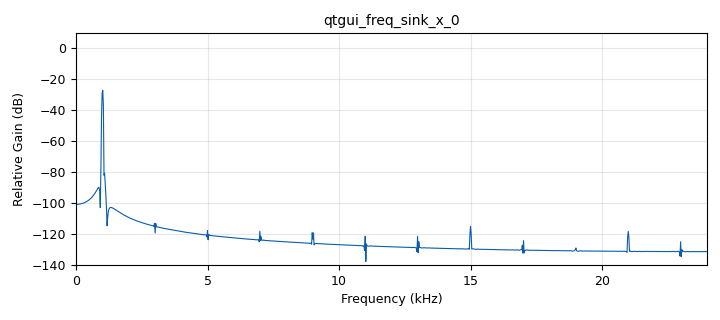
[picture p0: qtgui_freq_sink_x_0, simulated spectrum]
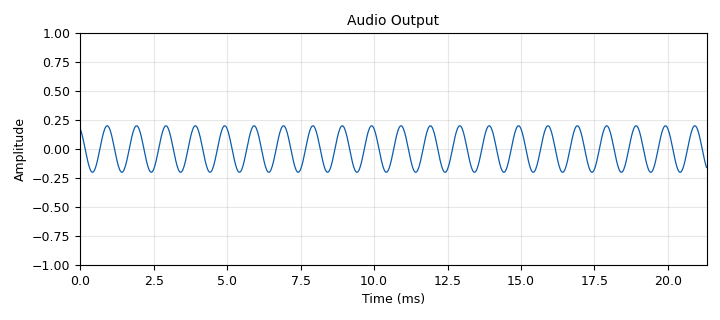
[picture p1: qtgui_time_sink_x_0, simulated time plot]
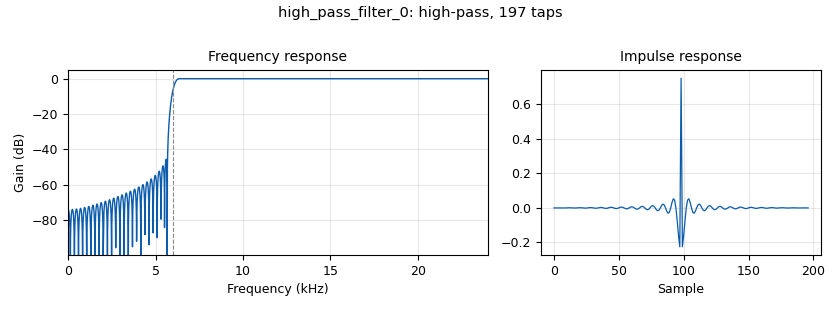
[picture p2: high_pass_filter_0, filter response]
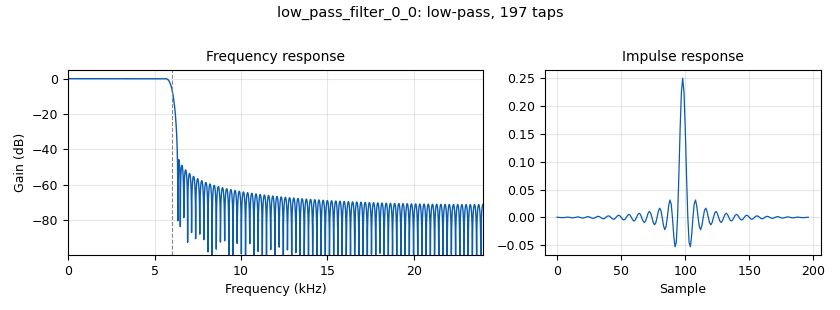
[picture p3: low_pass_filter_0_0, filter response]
options:
  parameters:
    author: Bennet L. Ladage
    generate_options: qt_gui
    id: Sdat
    output_language: python
    title: Sdat - Software Defined Audio Testing, South Westphalia University of Applied Sciences, Dept. Meschede
  states: {}

blocks:
- name: A_bandwith_classic_sweep
  id: variable_qtgui_range
  parameters:
    comment: normalized bandwith classical sweep
    gui_hint: 'sweepsTab@0: 0,0,1,1'
    label: Normalized Bandwidth, CL
    orient: Qt.Horizontal
    start: '0.01'
    step: '0.01'
    stop: '1'
    value: '0.5'
  states: {}
- name: A_noise_out
  id: variable_qtgui_range
  parameters:
    comment: slider amplitude additive noise
    gui_hint: 'commonWaveformTab@0: 2,0,1,1'
    label: Noise Amplitude
    orient: Qt.Horizontal
    start: '0'
    step: '0.01'
    stop: '1'
    value: '0'
  states: {}
- name: A_out
  id: variable_qtgui_range
  parameters:
    comment: slider amplitude audio out
    gui_hint: 'generalSettingsTab@0: 2,0,1,1'
    label: Amplitude
    orient: Qt.Horizontal
    start: '0'
    step: '0.0001'
    stop: '1'
    value: '0.2'
  states: {}
- name: BW_sweep_max
  id: variable
  parameters:
    value: 3e3
  states: {}
- name: B_sweep
  id: variable_qtgui_range
  parameters:
    comment: bandwith sweep
    gui_hint: 'sweepsTab@0: 2,0,1,1'
    label: Bandwidth, BP (Hz)
    orient: Qt.Horizontal
    start: '100'
    step: '1'
    stop: BW_sweep_max
    value: BW_sweep_max / 2.0
  states: {}
- name: N_fft
  id: variable
  parameters:
    comment: |-
      FFT length for SNR/THD calc
      2**14 optimum
    value: 2**14
  states: {}
- name: R_update_GUI_numbers
  id: variable
  parameters:
    value: '0.1'
  states: {}
- name: b_qu
  id: variable_qtgui_chooser
  parameters:
    gui_hint: 'generalSettingsTab@0: 1,0,1,1'
    label: Quantization
    label0: 1 Bit
    label1: 2 Bit
    label2: 4 Bit
    label3: 8 Bit
    label4: 16 Bit
    num_opts: '5'
    option0: '1'
    option1: '2'
    option2: '4'
    option3: '8'
    option4: '16'
    orient: Qt.QHBoxLayout
    type: int
    value: '16'
    widget: radio_buttons
  states: {}
- name: b_qu_in
  id: variable_qtgui_chooser
  parameters:
    comment: quantization input
    gui_hint: 'inputFilterTab@0: 1,0,1,1'
    label: Quantization
    label0: 1 Bit
    label1: 2 Bit
    label2: 4 Bit
    label3: 8 Bit
    label4: 16 Bit
    num_opts: '5'
    option0: '1'
    option1: '2'
    option2: '4'
    option3: '8'
    option4: '16'
    type: int
    value: '16'
    widget: radio_buttons
  states: {}
- name: bpRipple
  id: variable_qtgui_chooser
  parameters:
    comment: passband ripple FIR filter, win method
    gui_hint: 'inputFilterTab2@0: 3,0,1,1'
    label: Max. Stopband Ripple
    labels: '["29 dB", "37 dB", "45 dB", "54 dB", "63 dB", "72 dB", "81 dB", "90 dB"]'
    num_opts: '0'
    options: '[2, 3, 4, 5, 6, 7, 8, 9]'
    type: int
    value: '4'
    widget: radio_buttons
  states: {}
- name: delayMeasurement
  id: variable_qtgui_range
  parameters:
    comment: time between a measured value is stored
    gui_hint: 'tabLogger@0: 1,0,1,1'
    label: '"Measure Interval (Seconds):"'
    orient: Qt.Vertical
    start: '0.1'
    step: '0.1'
    stop: '30'
    value: '2'
    widget: counter
  states: {}
- name: f_0
  id: variable_qtgui_range
  parameters:
    comment: slider frequency audio out
    gui_hint: 'commonWaveformTab@0: 1,0,1,1'
    label: Frequency (Hz)
    orient: Qt.Horizontal
    start: '20'
    step: '1'
    stop: '20000'
    value: '1000'
  states: {}
- name: f_center_sweep
  id: variable_qtgui_range
  parameters:
    comment: center frequency sweep
    gui_hint: 'sweepsTab@0: 1,0,1,1'
    label: Center Frequency, BP (Hz)
    orient: Qt.Horizontal
    start: 500.0 + 0.5 * BW_sweep_max
    step: '1'
    stop: 20e3 - 0.5 * BW_sweep_max
    value: 10e3
  states: {}
- name: fcutoff_in
  id: variable_qtgui_range
  parameters:
    comment: cutoff freq filter input
    gui_hint: 'inputFilterTab2@0: 2,0,1,1'
    label: Cutoff Frequency (Hz)
    orient: Qt.Horizontal
    start: trans_width_in
    step: '1'
    stop: '20000'
    value: '6000'
  states: {}
- name: filenameLog
  id: variable_qtgui_entry
  parameters:
    comment: |-
      set filename data logger;
      requires from datetime import datetime
      because default name is current date
    gui_hint: 'tabLogger@0: 2,0,1,1'
    label: '"Logfile Name [Confirm New via Enter]"'
    type: string
    value: datetime.now().strftime("%Y-%m-%d")
  states: {}
- name: fsample_in
  id: variable
  parameters:
    comment: sample frequency for audio input
    value: '48000'
  states: {}
- name: fsample_internal
  id: variable
  parameters:
    comment: internal sample frequency (fixed)
    value: '48000'
  states: {}
- name: fsample_out
  id: variable
  parameters:
    comment: sample frequency for audio output
    value: '48000'
  states: {}
- name: gain_in
  id: variable_qtgui_range
  parameters:
    comment: gain input
    gui_hint: 'inputFilterTab2@0: 1,0,1,1'
    label: Gain (dB)
    orient: Qt.Horizontal
    start: '-60'
    step: '0.01'
    stop: '60'
    value: '0'
  states: {}
- name: logfileChooser
  id: variable_qtgui_chooser
  parameters:
    comment: choose if logfile is created
    gui_hint: 'tabLogger@0: 0,0,1,1'
    label: Logfile Generation
    label0: No Logfile / Stop
    label1: Continuous Writing
    num_opts: '2'
    option0: '0'
    option1: '1'
    orient: Qt.QHBoxLayout
    type: int
    value: '0'
    widget: radio_buttons
  states: {}
- name: trans_width_in
  id: variable
  parameters:
    comment: transision width input filter
    value: 0.5e3
  states: {}
- name: uiWaveOrSweep
  id: variable_qtgui_chooser
  parameters:
    comment: choose waveform or sweep
    gui_hint: 'generalSettingsTab@0: 0,0,1,1'
    label: Test Signal
    label0: Common Waveform
    label1: Classical Sweep (CL)
    label2: Bandpass Sweep (BP)
    num_opts: '3'
    option0: '1'
    option1: '2'
    option2: '3'
    type: int
    value: '1'
    widget: radio_buttons
  states: {}
- name: uiwavef
  id: variable_qtgui_chooser
  parameters:
    comment: choose common waveforms
    gui_hint: 'commonWaveformTab@0: 0,0,1,1'
    label: Waveform
    label0: Sine
    label1: Square
    label2: Triangle
    label3: Sawtooth
    num_opts: '4'
    option0: '101'
    option1: '103'
    option2: '104'
    option3: '105'
    type: int
    value: '101'
  states: {}
- name: whichFilterIn
  id: variable_qtgui_chooser
  parameters:
    comment: choose which input filter
    gui_hint: 'inputFilterTab@0: 0,0,1,1'
    label: Input Filter
    label0: Gain Only
    label1: Lowpass
    label2: Highpass
    num_opts: '3'
    option0: '1'
    option1: '2'
    option2: '3'
    type: int
    value: '1'
    widget: radio_buttons
  states: {}
- name: analog_noise_source_x_0
  id: analog_noise_source_x
  parameters:
    amp: A_noise_out/(2.0 ** 0.5)
    noise_type: analog.GR_GAUSSIAN
    seed: '0'
    type: float
  states: {}
- name: analog_sig_source_x_0
  id: analog_sig_source_x
  parameters:
    amp: A_out
    freq: f_0
    offset: '0'
    phase: '0'
    samp_rate: fsample_internal
    type: float
    waveform: uiwavef
  states: {}
- name: audio_sink_0
  id: audio_sink
  parameters:
    comment: D/A audio output
    samp_rate: fsample_out
  states: {}
- name: audio_source_0
  id: audio_source
  parameters:
    comment: A/D audio input
    samp_rate: fsample_in
  states: {}
- name: blk_oscillate_around_0
  id: epy_block
  parameters:
    _source_code: |
      import numpy as np
      from gnuradio import gr


      class blk(gr.sync_block):

          def __init__(self):

              gr.sync_block.__init__(
                  self,
                  name='Oscillate Around 0', 
                  in_sig=[np.float32],
                  out_sig=[np.float32]
              )

          def work(self, input_items, output_items):
              #Check if s(n)>0 for all n
              #if all(n >= 0 for n in input_items[0]):
              if min(input_items[0]) >= 0:       
                  output_items[0][:] = 2 * (input_items[0] - (0.5*max(input_items[0])) )
              else:
                  output_items[0][:] = input_items[0]
              return len(output_items[0])
    comment: and correct amplitude
  states: {}
- name: blk_oscillate_around_0_0
  id: epy_block
  parameters:
    _source_code: |
      import numpy as np
      from gnuradio import gr


      class blk(gr.sync_block):

          def __init__(self, digits=1):

              gr.sync_block.__init__(
                  self,
                  name="round x digits", 
                  in_sig=[np.float32],
                  out_sig=[np.float32]
              )
              self.digits = digits

          def work(self, input_items, output_items):
              
              output_items[0][:] = np.round(input_items[0], self.digits)
              return len(output_items[0])
    comment: round(s(n), x)
    digits: '2'
  states: {}
- name: blocks_add_xx_0
  id: blocks_add_xx
  parameters:
    type: float
  states: {}
- name: blocks_add_xx_1
  id: blocks_add_xx
  parameters:
    num_inputs: '3'
    type: float
  states: {}
- name: blocks_add_xx_1_0
  id: blocks_add_xx
  parameters:
    num_inputs: '3'
    type: float
  states: {}
- name: blocks_complex_to_mag_0
  id: blocks_complex_to_mag
  parameters:
    comment: '|S(k)|'
    vlen: N_fft
  states: {}
- name: blocks_complex_to_mag_0_0
  id: blocks_complex_to_mag
  parameters:
    comment: '|S(k)|'
    vlen: N_fft
  states: {}
- name: blocks_divide_xx_0
  id: blocks_divide_xx
  parameters:
    comment: gain = in / out
    type: float
  states: {}
- name: blocks_multiply_const_xx_1
  id: blocks_multiply_const_xx
  parameters:
    comment: Gain Input
    const: 10.0 ** (gain_in/20.0)
    type: float
  states: {}
- name: blocks_multiply_const_xx_2
  id: blocks_multiply_const_xx
  parameters:
    comment: amplitude classical sweep
    const: A_out
    type: float
  states: {}
- name: blocks_multiply_const_xx_2_0
  id: blocks_multiply_const_xx
  parameters:
    comment: amplitude bandpass sweep
    const: A_out
    type: float
  states: {}
- name: blocks_nlog10_ff_1
  id: blocks_nlog10_ff
  parameters:
    comment: dB
    k: '0'
    n: '10'
  states: {}
- name: blocks_null_sink_0
  id: blocks_null_sink
  parameters:
    comment: |-
      strange behavior: 
      null sink clears input buffer of the data logger
    type: float
  states: {}
- name: blocks_stream_to_vector_0
  id: blocks_stream_to_vector
  parameters:
    num_items: N_fft
    type: float
  states: {}
- name: blocks_stream_to_vector_0_0
  id: blocks_stream_to_vector
  parameters:
    num_items: N_fft
    type: float
  states: {}
- name: blocks_vco_f_0
  id: blocks_vco_f
  parameters:
    amplitude: '1'
    samp_rate: fsample_internal
    sensitivity: 2*np.pi*22000
  states: {}
- name: channels_quantizer_0
  id: channels_quantizer
  parameters:
    bits: b_qu
  states: {}
- name: channels_quantizer_0_0
  id: channels_quantizer
  parameters:
    bits: b_qu_in
  states: {}
- name: commonWaveformTab
  id: qtgui_tab_widget
  parameters:
    comment: tab settings common wf
    gui_hint: 'outOrInTab@0: 1,0,1,1'
    label0: 'Common Waveform '
    num_tabs: '1'
  states: {}
- name: const_out_max_1_0_0
  id: epy_block
  parameters:
    _source_code: |
      from gnuradio import gr
      from scipy import signal
      import numpy as np


      class blk(gr.sync_block):

          def __init__(self, fcenter=1000.0, bw = 100.0, stopband_ripple = 40.0, passband_ripple=0.2, order = 11, fsample=48000.0):  # only default arguments here
              """
              Band-pass IIR filter (Cheby1) implemented by cascaded second order sections (SOS),
              SOS better because coefficient quantization and stability
              ---
              Bennet L. Ladage
              Project Work "Sdat"
              2022-02-08 
              ---  

              input:
                  in0: x(n), i.e., signal in the time domain
              
              arguments:
                  fcenter:         center frequency in Hz
                  bw:              bandwidth in Hz
                  stopband_ripple: ~ in dB
                  passband_ripple: ~ in dB
                  order:           order of the IIR filter
                  fsample:         sample frequency in Hz
            
              output:
                  out0: y(n), i.e., filtered signal x(n)
              """
              gr.sync_block.__init__(
                  self,
                  name='Band Pass IIR (Cheby1)',
                  in_sig=[np.float32],
                  out_sig=[np.float32]
              )
              self.fcenter = fcenter
              self.bw = bw
              self.stopband_ripple = stopband_ripple
              self.passband_ripple = passband_ripple
              self.order = order
              self.fsample = fsample    
              

          def work(self, input_items, output_items):
              
              #                        #
              # IIR BPass, Butterworth #
              #                        #
              f_lo = self.fcenter - 0.5 * self.bw
              f_hi = self.fcenter + 0.5 * self.bw
              sos = signal.iirfilter(self.order, [f_lo, f_hi], rs=self.stopband_ripple, rp=self.passband_ripple, btype='band', analog=False, ftype='cheby1', fs=self.fsample, output='sos') 
              
              #                        #
              # Just filter if stable  #
              #                        #
              z, p, k = signal.sos2zpk(sos) 
              if np.any(abs(p) >= 1):
                  output_items[0][:] = 0
              else:
                  output_items[0][:] = signal.sosfilt(sos, input_items[0][:])        
          
              return len(output_items[0])
    bw: B_sweep
    fcenter: f_center_sweep
    fsample: fsample_internal
    order: '11'
    passband_ripple: '0.2'
    stopband_ripple: '60.0'
  states: {}
- name: const_out_max_1_0_0_0
  id: epy_block
  parameters:
    _source_code: |
      from gnuradio import gr
      from scipy import signal
      import numpy as np


      class blk(gr.sync_block):

          def __init__(self, fcutoff=1000.0, stopband_ripple = 40.0, passband_ripple=0.2, order = 11, fsample=48000.0):  
              """
              Low-pass IIR filter (Cheby1) implemented by cascaded second order sections (SOS),
              SOS better because coefficient quantization and stability
              ---
              Bennet L. Ladage
              Project Work "Sdat"
              2022-02-08 
              ---    

              input:
                  in0: x(n), i.e., signal in the time domain
              
              arguments:
                  fcutoff:         cutoff frequency in Hz
                  stopband_ripple: ~ in dB
                  passband_ripple: ~ in dB
                  order:           order of the IIR filter
                  fsample:         sample frequency in Hz
            
              output:
                  out0: y(n), i.e., filtered signal x(n)
              """
              gr.sync_block.__init__(
                  self,
                  name='Low Pass IIR (Cheby1)',
                  in_sig=[np.float32],
                  out_sig=[np.float32]
              )
              self.fcutoff = fcutoff
              self.stopband_ripple = stopband_ripple
              self.passband_ripple = passband_ripple
              self.order = order
              self.fsample = fsample    
              

          def work(self, input_items, output_items):
                  
              #                        #
              # IIR LPass, Cheby1      #
              #                        #
              sos = signal.iirfilter(self.order, self.fcutoff, rs=self.stopband_ripple, rp=self.passband_ripple, btype='low', analog=False, ftype='cheby1', fs=self.fsample, output='sos')
              
              #                        #
              # Just filter if stable  #
              #                        #
              z, p, k = signal.sos2zpk(sos) 
              if np.any(abs(p) >= 1):
                  output_items[0][:] = 0
              else:
                  output_items[0][:] = signal.sosfilt(sos, input_items[0][:])               
                       
              return len(output_items[0])
    comment: vco80
    fcutoff: A_bandwith_classic_sweep*20e3
    fsample: fsample_internal
    order: '7'
    passband_ripple: '0.2'
    stopband_ripple: '60.0'
  states: {}
- name: const_out_max_2_0
  id: epy_block
  parameters:
    Delta_f: '150.0'
    _source_code: "from gnuradio import gr\nimport numpy as np\nfrom copy import copy\n\n\nclass blk(gr.sync_block):  # sync_block; other base classes are basic_block, decim_block, interp_block\n\n    def __init__(self, fsample=48000.0, Delta_f=120.0, fbackup=100):  # only default arguments here\n        \"\"\"\n            Compute the SNR, THD and signal energy of a magnitude spectrum.\n            ---\n            Bennet L. Ladage\n            Project Work \"Sdat\"\n            2022-02-08 \n            ---             \n\n            input:\n                in0: magnitude spectrum (FFT), two-sided, length 2^14  \n\n            arguments:\n                fsample: sampling frequency in Hz\n                Delta_f: bandwidth of the bandpass or bandreject filter in Hz; 150 Hz leads to SQNR = 97..98 dB   \n                fbackup: frequency if estimation of the real center freq fails\n            \n            output:\n                out0: SNR in dB\n                out1: THD (fundamental) in %\n                out2: P_s, i.e., half of the signal power\n        \"\"\"\n        gr.sync_block.__init__(\n            self,\n            name='SNR, THD and Power Estimator',\n            in_sig=[(np.float32, 2**14)],\n            out_sig=[(np.float32, 1), (np.float32, 1), (np.float32, 1)]\n        )\n        self.fsample = fsample\n        self.Delta_f = Delta_f\n        self.fbackup = fbackup\n\n\n    def work(self, input_items, output_items):\n        \n        N = int(2**13) # signal's length/2\n        \n        #                                                                          #\n        # Check if all input values are 0; if yes, then don't calc SNR, THD, P_s   # \n        #                                                                          #   \n        if (not np.any(input_items[0][0][0:N])):\n\n            SNR = 0\n            THD = 0                        \n            P_s = 1         \n\n        else:\n\n            #                    #\n            # Estimate Frequency #\n            #                    #\n            # single-sided spectrum; 2.0 due to half of the energy is missing when one side is truncated:\n            X_pos = np.array(input_items[0][0][0:N]) # or N/2 if 2^14=N\n                    \n            m_k = np.argmax(X_pos)                  # get index of peak                               \n            C3 = 1.75*(X_pos[m_k-1] - X_pos[m_k+1])/(X_pos[m_k-1] + X_pos[m_k] + X_pos[m_k+1]) # 1.75 depends on window, see Lyons (p. 733, understanding digital signal processing)\n            m_peak = m_k + C3                       # estimate real peak; C3 because has already abs & more accurate\n            f_peak = m_peak * self.fsample / N      # calc estimated fundamental with estimated index m_peak\n            \n            if f_peak <= 0.0:\n                f_peak = self.fbackup               # estimation fails, hence use fbackup\n      \n            #                      #\n            # Filter: SNR & THD    #      \n            #                      #\n\n            # 1. specification \"filter\" #              \n            f_lo = f_peak - self.Delta_f            # low cutoff freq\n            if f_lo < 0.0:\n                f_lo = 0                            # avoid negative f_lo\n            \n            f_hi = f_peak + self.Delta_f            # high cutoff freq\n            \n            # 2. bins #\n            k_lo = round(N * (f_lo / self.fsample)) # bin of f_lo\n            k_hi = round(N * (f_hi / self.fsample)) # bin of f_hi\n            \n            # 3. apply filter #               \n            Sk_bp = copy(X_pos)                     # copy because of python's handling of arrays\n\n            # BRej:\n            X_pos[int(k_lo):int(k_hi)+1] = 0\n            P_n = np.mean(X_pos**2)           # P noise\n\n            # BPass:\n            Sk_bp[0:int(k_lo)] = 0\n            Sk_bp[int(k_hi)+1:N] = 0\n            P_s = np.mean(Sk_bp**2)           # P signal\n            \n            # 4. SNR/THD calc #\n            SNR = round(10.0 * np.log10(P_s/P_n), 2)\n            THD = round(100.0*np.sqrt(P_n/P_s), 4)\n        \n        output_items[0][:] = SNR                # out0=SNR\n        output_items[1][:] = THD                # out1=THD\n        output_items[2][:] = P_s                # out2=P_s\n        return len(output_items[0])        \n\n"
    comment: |-
      out0=SNR
      out1=THD
      out2=input's signal power
      in0=|S(k)|
      length=2**14
    fbackup: f_0
    fsample: '48000.0'
  states: {}
- name: const_out_max_2_0_0_0
  id: epy_block
  parameters:
    _source_code: "from gnuradio import gr\nimport numpy as np\nfrom copy import copy\n\n\nclass blk(gr.sync_block):  # sync_block; other base classes are basic_block, decim_block, interp_block\n\n    def __init__(self, fsample=48000.0, fbackup=100):  # only default arguments here ; , wf=101\n        \"\"\"\n            Compute the SNR, THD and signal energy of a magnitude spectrum            \n\n            input:\n                in0: magnitude spectrum (FFT), two-sided, (N_fft/2) already removed(!), length 2^14  \n\n            arguments:\n                fsample: sampling frequency in Hz\n                fbackup: frequency if estimation of the real center freq fails\n            \n            output:\n                out0: SNR in dB\n                out1: THD (fundamental) in %\n                out2: P_s, (i.e., signal power)\n        \"\"\"\n        gr.sync_block.__init__(\n            self,\n            name='SNR, THD and Power Estimator',\n            in_sig=[(np.float32, 2**14)],\n            out_sig=[(np.float32, 1), (np.float32, 1), (np.float32, 1)] # , (np.float32, 2**13)\n        )\n        self.fsample = fsample\n        self.fbackup = fbackup\n#        self.wf = wf\n\n\n    def work(self, input_items, output_items):\n        \n        N = 2**14 # signal's length\n        \n        #                                                                          #\n        # Check if all input values are 0; if yes, then don't calc SNR, THD, P_s   # \n        #                                                                          #   \n        if (not np.any(input_items[0][0][0:(N/2)])):\n\n            SNR = 0\n            THD = 0                        \n            P_s = 1         \n\n        else:\n\n            #                    #\n            # Estimate Frequency #\n            #                    #\n            # one-sided spectrum; 2.0 due to half of the energy is missing when one side is truncated:\n            X_pos = np.array(2.0 * input_items[0][0][0:(N/2)])\n                    \n            m_k = np.argmax(X_pos)                  # get index of peak\n            P = 1.75                                # depends on window, see Lyons (p. 733, understanding digital signal processing)\n            C3 = P*(X_pos[m_k-1] - X_pos[m_k+1])/(X_pos[m_k-1] + X_pos[m_k] + X_pos[m_k+1])\n            m_peak = m_k + C3                       # estimate real peak; C3 because has already abs & more accurate\n            f_peak = m_peak * self.fsample / N      # calc estimated fundamental with estimated index m_peak\n            \n            if f_peak <= 0.0:\n                f_peak = self.fbackup               # estimation fails, hence use fbackup\n      \n            #                      #\n            # Filter: SNR & THD    #      \n            #                      #\n\n            # 1. specification \"filter\" #\n            nyq_rate = self.fsample / 2.0           # nyquist rate\n            transitionWidthHz = 20.0                # transition width in Hz\n            width = transitionWidthHz / nyq_rate    # normalize freq\n\n            Delta_f = 120.0 # 250 fir               # bandwidth filter\n            f_lo = f_peak - Delta_f                 # low cutoff freq\n            if f_lo < 0.0:\n                f_lo = 0                            # avoid negative f_lo\n            \n            f_hi = f_peak + Delta_f                 # high cutoff freq\n            \n            # 2. bins #\n            k_lo = round(N * (f_lo / self.fsample)) # bin of f_lo\n            k_hi = round(N * (f_hi / self.fsample)) # bin of f_hi\n            \n            # 3. apply filter #               \n            Sk_bp = copy(X_pos)                     # copy because of python's handling of arrays\n\n            # BRej:\n            X_pos[int(k_lo):int(k_hi)+1] = 0\n            P_n = np.mean(X_pos**2)                 # P noise\n\n            # BPass:\n            Sk_bp[0:int(k_lo)] = 0\n            Sk_bp[int(k_hi)+1:N] = 0\n            P_s = np.mean(Sk_bp**2)                 # P signal\n\n#            if self.wf != 101:\n#                # adjust the following block by gnu radio's estimated values\n#                f_1 = f_peak # in Hz\n#                Delta_k = round(N * f_1 / self.fsample)    # samples between each harmonic\n#  \n#                f_max = 20000  # audio 20 kHz; 100 Hz just example here\n#                m_max = int(round(f_max / f_1))  # 2* because one sided spec here?; number harmonics + fundamental; gnu without??\n#\n#                #k_lo = 4    # val computed peak finder in gnu radio...\n#                #k_hi = 6\n#\n#                # the following locs should be okay in gnu radio, just delete the print(...)\n#                m_vec = np.arange(1, m_max)  # +1 because of python's function\n#                i_vec = np.ones(m_max-1)\n#\n#                k_lo_vec = k_lo * i_vec + Delta_k * m_vec  # k^(m)_lo = k_lo + m Delta_k written as vector operations\n#                k_lo_vec = k_lo_vec.astype(int)\n#                k_hi_vec = k_hi * i_vec + Delta_k * m_vec  # k^(m)_hi = k_hi + m Delta_k written as vector operations\n#                k_hi_vec = k_hi_vec.astype(int)\n#\n#                del_vec = np.arange(k_lo_vec[0], k_hi_vec[0]+1)\n#                for idx in range(1, len(k_lo_vec)):\n#                    del_vec = np.append(del_vec, np.arange(k_lo_vec[idx], k_hi_vec[idx]+1))\n#\n#                # filter harmonics; -1 because array starts at 0 plus -1 because k_hi_vec[idx]+1 not for the last element, hence -2\n#                #Sk[del_vec[0:len(del_vec)-2]] = 0\n#                X_pos[del_vec[0:len(del_vec)-2]] = 0\n                  \n            \n            # 4. SNR/THD calc #\n            #P_n = 2.0 * np.mean(X_pos**2) \n\n            SNR = 10.0 * np.log10(P_s/P_n)#-0.7\n            THD = 100.0*np.sqrt(P_n/P_s) #*1/1.08\n        \n        output_items[0][:] = SNR                # out0=SNR\n        output_items[1][:] = THD                # out1=THD\n        output_items[2][:] = P_s                # out2=P_s\n        #output_items[3][0][:] = X_pos\n        return len(output_items[0])        \n\n"
    comment: |-
      out0=SNR
      out1=THD
      out2=output's signal power
      in0=|S(k)|
      length=2**14
    fbackup: f_0
    fsample: '48000.0'
  states: {state: disabled}
- name: const_out_max_2_0_1
  id: epy_block
  parameters:
    Delta_f: '250.0'
    _source_code: "from gnuradio import gr\nimport numpy as np\nfrom copy import copy\n\n\nclass blk(gr.sync_block):  # sync_block; other base classes are basic_block, decim_block, interp_block\n\n    def __init__(self, fsample=48000.0, Delta_f=120.0, fbackup=100):  # only default arguments here\n        \"\"\"\n            Compute the SNR, THD and signal energy of a magnitude spectrum.\n            ---\n            Bennet L. Ladage\n            Project Work \"Sdat\"\n            2022-02-08 \n            ---             \n\n            input:\n                in0: magnitude spectrum (FFT), two-sided, length 2^14  \n\n            arguments:\n                fsample: sampling frequency in Hz\n                Delta_f: bandwidth of the bandpass or bandreject filter in Hz; 150 Hz leads to SQNR = 97..98 dB   \n                fbackup: frequency if estimation of the real center freq fails\n            \n            output:\n                out0: SNR in dB\n                out1: THD (fundamental) in %\n                out2: P_s, i.e., half of the signal power\n        \"\"\"\n        gr.sync_block.__init__(\n            self,\n            name='SNR, THD and Power Estimator',\n            in_sig=[(np.float32, 2**14)],\n            out_sig=[(np.float32, 1), (np.float32, 1), (np.float32, 1)]\n        )\n        self.fsample = fsample\n        self.Delta_f = Delta_f\n        self.fbackup = fbackup\n\n\n    def work(self, input_items, output_items):\n        \n        N = int(2**13) # signal's length/2\n        \n        #                                                                          #\n        # Check if all input values are 0; if yes, then don't calc SNR, THD, P_s   # \n        #                                                                          #   \n        if (not np.any(input_items[0][0][0:N])):\n\n            SNR = 0\n            THD = 0                        \n            P_s = 1         \n\n        else:\n\n            #                    #\n            # Estimate Frequency #\n            #                    #\n            # single-sided spectrum; 2.0 due to half of the energy is missing when one side is truncated:\n            X_pos = np.array(input_items[0][0][0:N]) # or N/2 if 2^14=N\n                    \n            m_k = np.argmax(X_pos)                  # get index of peak                               \n            C3 = 1.75*(X_pos[m_k-1] - X_pos[m_k+1])/(X_pos[m_k-1] + X_pos[m_k] + X_pos[m_k+1]) # 1.75 depends on window, see Lyons (p. 733, understanding digital signal processing)\n            m_peak = m_k + C3                       # estimate real peak; C3 because has already abs & more accurate\n            f_peak = m_peak * self.fsample / N      # calc estimated fundamental with estimated index m_peak\n            \n            if f_peak <= 0.0:\n                f_peak = self.fbackup               # estimation fails, hence use fbackup\n      \n            #                      #\n            # Filter: SNR & THD    #      \n            #                      #\n\n            # 1. specification \"filter\" #              \n            f_lo = f_peak - self.Delta_f            # low cutoff freq\n            if f_lo < 0.0:\n                f_lo = 0                            # avoid negative f_lo\n            \n            f_hi = f_peak + self.Delta_f            # high cutoff freq\n            \n            # 2. bins #\n            k_lo = round(N * (f_lo / self.fsample)) # bin of f_lo\n            k_hi = round(N * (f_hi / self.fsample)) # bin of f_hi\n            \n            # 3. apply filter #               \n            Sk_bp = copy(X_pos)                     # copy because of python's handling of arrays\n\n            # BRej:\n            X_pos[int(k_lo):int(k_hi)+1] = 0\n            P_n = np.mean(X_pos**2)           # P noise\n\n            # BPass:\n            Sk_bp[0:int(k_lo)] = 0\n            Sk_bp[int(k_hi)+1:N] = 0\n            P_s = np.mean(Sk_bp**2)           # P signal\n            \n            # 4. SNR/THD calc #\n            SNR = round(10.0 * np.log10(P_s/P_n), 2)\n            THD = round(100.0*np.sqrt(P_n/P_s), 4)\n        \n        output_items[0][:] = SNR                # out0=SNR\n        output_items[1][:] = THD                # out1=THD\n        output_items[2][:] = P_s                # out2=P_s\n        return len(output_items[0])        \n\n"
    comment: |-
      out0=SNR
      out1=THD
      out2=output's signal power
      in0=|S(k)|
      length=2**14
    fbackup: f_0
    fsample: '48000.0'
  states: {}
- name: fft_vxx_0
  id: fft_vxx
  parameters:
    fft_size: N_fft
    forward: 'True'
    shift: 'True'
    type: float
    window: window.blackman(N_fft)
  states: {}
- name: fft_vxx_0_0
  id: fft_vxx
  parameters:
    fft_size: N_fft
    forward: 'True'
    shift: 'True'
    type: float
    window: window.blackman(N_fft)
  states: {}
- name: generalSettingsTab
  id: qtgui_tab_widget
  parameters:
    comment: tab general settings
    gui_hint: 'outOrInTab@0: 0,0,1,1'
    label0: General Settings
    num_tabs: '1'
  states: {}
- name: high_pass_filter_0
  id: high_pass_filter
  parameters:
    beta: bpRipple
    cutoff_freq: fcutoff_in
    decim: '1'
    gain: '1'
    samp_rate: fsample_in
    type: fir_filter_fff
    width: trans_width_in
    win: firdes.WIN_KAISER
  states: {}
- name: import_0
  id: import
  parameters:
    imports: from math import pi
  states: {}
- name: import_1
  id: import
  parameters:
    imports: import numpy as np
  states: {}
- name: import_1_0
  id: import
  parameters:
    imports: from datetime import datetime
  states: {}
- name: inputFilterTab
  id: qtgui_tab_widget
  parameters:
    comment: filter of the input
    gui_hint: 'outOrInTab@1: 0,0,1,1'
    label0: General Settings
    num_tabs: '1'
  states: {}
- name: inputFilterTab2
  id: qtgui_tab_widget
  parameters:
    comment: filter of the input
    gui_hint: 'outOrInTab@1: 1,0,1,1'
    label0: Active Filter
    num_tabs: '1'
  states: {}
- name: loggerBlock
  id: epy_block
  parameters:
    A_noise: A_noise_out
    A_sig: A_out
    _source_code: "from gnuradio import gr\nimport numpy as np\nimport pandas as pd\nimport os.path\nimport time\n#from copy import copy\n\nclass blk(gr.sync_block):\n\n    def __init__(self, fname=\"log\", saveNow=0, globalEnable=0, delay=1, A_sig=1.0, A_noise=0.0, ftest=1000):  \n        \"\"\"\n            Creates a csv logfile with the header \"Asig,Anoise,Gain,SNRout,THDout,SNRin,THDin\".\n            The file is saved in: /home/username/sdat_measurements/filename.csv (linux mint/ubuntu).\n            ---\n            Bennet L. Ladage\n            Project Work \"Sdat\"\n            2022-02-08 \n            ---           \n\n            input:\n                in0: Gain in dB\n                in1: SNR_out in dB\n                in2: THD_out in %\n                in3: SNR_in in dB\n                in4: THD_in in %\n\n            arguments:\n                fname:      Filename of the csv file\n                saveNow:    0 leads to no logfile; 1 leads to logfile\n                delay:      interval between the storage of a measurement; \n                            saving every sample leads to giant files, \n                            e.g., 32 bit (float) and sample rate 48 kHz --> bitrate = 32 bit x 48 kHz = a lot of data  \n                A_sig:      Amplitude of the testsignal (sine wave, saw tooth,...)\n                A_noise:    Noise amplitude\n                ftest:      Frequency of the test signal in Hz\n\n            output:\n                None, it's a sink!\n        \"\"\"\n        gr.sync_block.__init__(\n            self,\n            name='Data Logger',\n            in_sig=[(np.float32), (np.float32), (np.float32), (np.float32), (np.float32)], #[(np.float32, 2**10), (np.float32, 2**10), (np.float32, 2**10), (np.float32, 2**10), (np.float32, 2**10)],\n            out_sig=[(np.float32)] \n        )\n        self.fname = str(fname)\n        self.saveNow = saveNow\n        self.globalEnable = globalEnable\n        self.A_sig = A_sig\n        self.A_noise = A_noise\n        self.ftest = ftest\n        self.delay = delay\n\n\n\n    def work(self, input_items, output_items):\n    \n        if self.saveNow == 1 and self.globalEnable == 1:\n            \n            #                                                                   #\n            # Save file (linux mint/ubuntu): /home/username/sdat_measurements   #\n            #                                                                   #\n            filename = \"sdat_measurements/\" + self.fname + \".csv\"\n            \n            #                                                                   #\n            # take just the first sample of the array, i.e., decimation 2^4=16  #\n            #                                                                   #\n\n#            gain_avg = np.mean(np.array(input_items[0][:]))\n#            snrout_avg = np.mean(np.array(input_items[1][:]))\n#            thdout_avg = np.mean(np.array(input_items[2][:]))\n#            snrin_avg = np.mean(np.array(input_items[3][:]))\n#            thdin_avg = np.mean(np.array(input_items[4][:]))\n\n            gain_avg = input_items[0][0]        \n            snrout_avg = input_items[1][0]\n            thdout_avg = input_items[2][0]\n            snrin_avg = input_items[3][0]\n            thdin_avg = input_items[4][0]\n            \n            output_items[0][:] = input_items[0][0] # clear input buffer by assigning the gain to the output\n            \n            #                                 #\n            # Built one row of the csv file   #\n            #                                 #\n            onerow = {\"Asig\": [self.A_sig],\n                     \"Anoise\": [self.A_noise],\n                     \"ftest\": [self.ftest],      \n                     \"Gain\": [gain_avg],\n                     \"SNRout\": [snrout_avg],\n                     \"THDout\": [thdout_avg],\n                     \"SNRin\": [snrin_avg],\n                     \"THDin\": [thdin_avg]}  \n            df = pd.DataFrame(onerow)\n\n            #                                  #  \n            # Check if logfile already exists  #\n            #                                  #\n            if not os.path.exists(\"sdat_measurements\"):\n                os.makedirs(\"sdat_measurements\")\n\n            if os.path.isfile(filename):\n                df.to_csv(filename, mode='a', header=False, index=False)  # file exist, i.e., append\n            else:\n                df.to_csv(filename, index=False) # no file found, create new file\n            time.sleep(self.delay) # interval between the next storage of data \n        \n        return len(output_items[0])     \n\n"
    delay: delayMeasurement
    fname: filenameLog
    ftest: '1000'
    globalEnable: uiWaveOrSweep
    saveNow: logfileChooser
  states: {}
- name: low_pass_filter_0_0
  id: low_pass_filter
  parameters:
    beta: bpRipple
    cutoff_freq: fcutoff_in
    decim: '1'
    gain: '1'
    samp_rate: fsample_in
    type: fir_filter_fff
    width: trans_width_in
    win: firdes.WIN_KAISER
  states: {}
- name: outOrInTab
  id: qtgui_tab_widget
  parameters:
    comment: Output or Input Tab
    gui_hint: 2,0,5,1
    label0: Output Signal
    label1: Input Signal
    num_tabs: '2'
  states: {}
- name: qtgui_freq_sink_x_0
  id: qtgui_freq_sink_x
  parameters:
    bw: fsample_out
    comment: output blue
    ctrlpanel: 'True'
    fc: '0'
    fftsize: '2048'
    freqhalf: 'False'
    grid: 'True'
    gui_hint: 5,1,3,2
    legend: 'False'
    showports: 'True'
    type: float
    wintype: firdes.WIN_KAISER
  states: {}
- name: qtgui_freq_sink_x_0_0
  id: qtgui_freq_sink_x
  parameters:
    bw: fsample_in
    color1: '"red"'
    comment: input red
    ctrlpanel: 'True'
    fc: '0'
    fftsize: '2048'
    freqhalf: 'False'
    grid: 'True'
    gui_hint: 5,4,3,2
    legend: 'False'
    showports: 'True'
    type: float
    wintype: firdes.WIN_KAISER
  states: {}
- name: qtgui_number_sink_0
  id: qtgui_number_sink
  parameters:
    comment: Gain in dB
    graph_type: qtgui.NUM_GRAPH_NONE
    gui_hint: 8,0,1,1
    label1: '"Power Ratio Input / Output"'
    name: '"Gain"'
    type: float
    unit1: '"dB"'
    update_time: R_update_GUI_numbers
  states: {}
- name: qtgui_number_sink_1
  id: qtgui_number_sink
  parameters:
    avg: '1'
    comment: THD_out
    graph_type: qtgui.NUM_GRAPH_NONE
    gui_hint: 8,1,1,1
    label1: Output
    max: '0'
    min: '-100'
    name: '"THD+N"'
    type: float
    unit1: '%'
    update_time: R_update_GUI_numbers
  states: {}
- name: qtgui_number_sink_1_0
  id: qtgui_number_sink
  parameters:
    avg: '1'
    comment: THD_in
    graph_type: qtgui.NUM_GRAPH_NONE
    gui_hint: 8,4,1,1
    label1: Input
    max: '0'
    min: '-100'
    name: '"THD+N"'
    type: float
    unit1: '%'
    update_time: R_update_GUI_numbers
  states: {}
- name: qtgui_number_sink_1_1
  id: qtgui_number_sink
  parameters:
    comment: SNR_out
    graph_type: qtgui.NUM_GRAPH_NONE
    gui_hint: 8,2,1,1
    label1: Output
    max: '100'
    min: '0'
    name: '"SNR"'
    type: float
    unit1: dB
    update_time: R_update_GUI_numbers
  states: {}
- name: qtgui_number_sink_1_1_0
  id: qtgui_number_sink
  parameters:
    comment: SNR_in
    graph_type: qtgui.NUM_GRAPH_NONE
    gui_hint: 8,5,1,1
    label1: Input
    max: '100'
    min: '0'
    name: '"SNR"'
    type: float
    unit1: dB
    update_time: R_update_GUI_numbers
  states: {}
- name: qtgui_time_sink_x_0
  id: qtgui_time_sink_x
  parameters:
    ctrlpanel: 'True'
    grid: 'True'
    gui_hint: 2,1,3,2
    label1: ''
    legend: 'False'
    name: Audio Output
    size: '1024'
    srate: fsample_out
    type: float
  states: {}
- name: qtgui_time_sink_x_0_0
  id: qtgui_time_sink_x
  parameters:
    color1: red
    ctrlpanel: 'True'
    grid: 'True'
    gui_hint: 2,4,3,2
    label1: ''
    legend: 'False'
    name: Audio Input
    size: '1024'
    srate: fsample_in
    type: float
  states: {}
- name: saw_for_sweep_0
  id: analog_sig_source_x
  parameters:
    amp: '1'
    freq: 2*np.pi*10
    offset: '0'
    phase: '0'
    samp_rate: fsample_internal
    type: float
    waveform: analog.GR_SAW_WAVE
  states: {}
- name: sweepsTab
  id: qtgui_tab_widget
  parameters:
    comment: tab for sweeps
    gui_hint: 'outOrInTab@0: 2,0,1,1'
    label0: Frequency Sweeps
    num_tabs: '1'
  states: {}
- name: tabLogger
  id: qtgui_tab_widget
  parameters:
    comment: contains GUI elements of data logger
    gui_hint: 7,0,1,1
    label0: Data Logger Settings
    num_tabs: '1'
  states: {}
- name: v1_path_switch1_0_1_0
  id: epy_block
  parameters:
    M: '1'
    S: uiWaveOrSweep
    _source_code: |
      import numpy as np
      from gnuradio import gr


      class blk(gr.sync_block):

          def __init__(self, S=1, M=1):
              """
                  Multiply the input by the Kronecker Delta delta(S-M),
                  the Kronecker Delta is created by the heaviside function
                  
                  input:
                      in0: x(n)

                  arguments:
                      S: value of the switch, e.g. QT GUI Chooser ID
                      M: M-th path of the switch

                  output:
                      out0: x(n) delta(S-M)
                  
                  
                  Implemented equations:
                  delta(S-M) = 1, if S = M
                             = 0, otherwise 
                  
                  delta(S-M) = varepsilon(S -(M+1)) - varepsilon(S -M)
                  --> discrete derivation of heaviside functions yields the Kronecker Delta
              """
              gr.sync_block.__init__(
                  self,
                  name='delta(S-M) Switch',
                  in_sig=[np.float32],
                  out_sig=[np.float32]
              )
              self.S = S
              self.M = M

          def work(self, input_items, output_items):
             
              output_items[0][:] = input_items[0] * (np.heaviside((self.S -(self.M+1)), 1) - np.heaviside((self.S -self.M), -1))
              return len(output_items[0])
    comment: |-
      common waveform,
      switch S_a
  states: {}
- name: v1_path_switch1_0_1_0_0
  id: epy_block
  parameters:
    M: '2'
    S: uiWaveOrSweep
    _source_code: |
      import numpy as np
      from gnuradio import gr


      class blk(gr.sync_block):

          def __init__(self, S=1, M=1):
              """
                  Multiply the input by the Kronecker Delta delta(S-M),
                  the Kronecker Delta is created by the heaviside function
                  
                  input:
                      in0: x(n)

                  arguments:
                      S: value of the switch, e.g. QT GUI Chooser ID
                      M: M-th path of the switch

                  output:
                      out0: x(n) delta(S-M)
                  
                  
                  Implemented equations:
                  delta(S-M) = 1, if S = M
                             = 0, otherwise 
                  
                  delta(S-M) = varepsilon(S -(M+1)) - varepsilon(S -M)
                  --> discrete derivation of heaviside functions yields the Kronecker Delta
              """
              gr.sync_block.__init__(
                  self,
                  name='delta(S-M) Switch',
                  in_sig=[np.float32],
                  out_sig=[np.float32]
              )
              self.S = S
              self.M = M

          def work(self, input_items, output_items):
             
              output_items[0][:] = input_items[0] * (np.heaviside((self.S -(self.M+1)), 1) - np.heaviside((self.S -self.M), -1))
              return len(output_items[0])
    comment: |-
      classical sweep,
      switch S_a
  states: {}
- name: v1_path_switch1_0_1_0_0_0
  id: epy_block
  parameters:
    M: '3'
    S: uiWaveOrSweep
    _source_code: |
      import numpy as np
      from gnuradio import gr


      class blk(gr.sync_block):

          def __init__(self, S=1, M=1):
              """
                  Multiply the input by the Kronecker Delta delta(S-M),
                  the Kronecker Delta is created by the heaviside function
                  
                  input:
                      in0: x(n)

                  arguments:
                      S: value of the switch, e.g. QT GUI Chooser ID
                      M: M-th path of the switch

                  output:
                      out0: x(n) delta(S-M)
                  
                  
                  Implemented equations:
                  delta(S-M) = 1, if S = M
                             = 0, otherwise 
                  
                  delta(S-M) = varepsilon(S -(M+1)) - varepsilon(S -M)
                  --> discrete derivation of heaviside functions yields the Kronecker Delta
              """
              gr.sync_block.__init__(
                  self,
                  name='delta(S-M) Switch',
                  in_sig=[np.float32],
                  out_sig=[np.float32]
              )
              self.S = S
              self.M = M

          def work(self, input_items, output_items):
             
              output_items[0][:] = input_items[0] * (np.heaviside((self.S -(self.M+1)), 1) - np.heaviside((self.S -self.M), -1))
              return len(output_items[0])
    comment: |-
      bandpass sweep,
      switch S_a
  states: {}
- name: v1_path_switch1_0_1_0_1
  id: epy_block
  parameters:
    M: '1'
    S: uiWaveOrSweep
    _source_code: |
      import numpy as np
      from gnuradio import gr


      class blk(gr.sync_block):

          def __init__(self, S=1, M=1):
              """
                  Multiply the input by the Kronecker Delta delta(S-M),
                  the Kronecker Delta is created by the heaviside function
                  
                  input:
                      in0: x(n)

                  arguments:
                      S: value of the switch, e.g. QT GUI Chooser ID
                      M: M-th path of the switch

                  output:
                      out0: x(n) delta(S-M)
                  
                  
                  Implemented equations:
                  delta(S-M) = 1, if S = M
                             = 0, otherwise 
                  
                  delta(S-M) = varepsilon(S -(M+1)) - varepsilon(S -M)
                  --> discrete derivation of heaviside functions yields the Kronecker Delta
              """
              gr.sync_block.__init__(
                  self,
                  name='delta(S-M) Switch',
                  in_sig=[np.float32],
                  out_sig=[np.float32]
              )
              self.S = S
              self.M = M

          def work(self, input_items, output_items):
             
              output_items[0][:] = input_items[0] * (np.heaviside((self.S -(self.M+1)), 1) - np.heaviside((self.S -self.M), -1))
              return len(output_items[0])
    comment: |-
      common waveform,
      switch S_a
  states: {}
- name: v1_path_switch1_0_1_0_2
  id: epy_block
  parameters:
    M: '1'
    S: uiWaveOrSweep
    _source_code: |
      import numpy as np
      from gnuradio import gr


      class blk(gr.sync_block):

          def __init__(self, S=1, M=1):
              """
                  Multiply the input by the Kronecker Delta delta(S-M),
                  the Kronecker Delta is created by the heaviside function
                  
                  input:
                      in0: x(n)

                  arguments:
                      S: value of the switch, e.g. QT GUI Chooser ID
                      M: M-th path of the switch

                  output:
                      out0: x(n) delta(S-M)
                  
                  
                  Implemented equations:
                  delta(S-M) = 1, if S = M
                             = 0, otherwise 
                  
                  delta(S-M) = varepsilon(S -(M+1)) - varepsilon(S -M)
                  --> discrete derivation of heaviside functions yields the Kronecker Delta
              """
              gr.sync_block.__init__(
                  self,
                  name='delta(S-M) Switch',
                  in_sig=[np.float32],
                  out_sig=[np.float32]
              )
              self.S = S
              self.M = M

          def work(self, input_items, output_items):
             
              output_items[0][:] = input_items[0] * (np.heaviside((self.S -(self.M+1)), 1) - np.heaviside((self.S -self.M), -1))
              return len(output_items[0])
    comment: |-
      common waveform,
      switch S_a
  states: {}
- name: v1_path_switch1_0_1_0_3
  id: epy_block
  parameters:
    M: '1'
    S: whichFilterIn
    _source_code: |
      import numpy as np
      from gnuradio import gr


      class blk(gr.sync_block):

          def __init__(self, S=1, M=1):
              """
                  Multiply the input by the Kronecker Delta delta(S-M),
                  the Kronecker Delta is created by the heaviside function
                  
                  input:
                      in0: x(n)

                  arguments:
                      S: value of the switch, e.g. QT GUI Chooser ID
                      M: M-th path of the switch

                  output:
                      out0: x(n) delta(S-M)
                  
                  
                  Implemented equations:
                  delta(S-M) = 1, if S = M
                             = 0, otherwise 
                  
                  delta(S-M) = varepsilon(S -(M+1)) - varepsilon(S -M)
                  --> discrete derivation of heaviside functions yields the Kronecker Delta
              """
              gr.sync_block.__init__(
                  self,
                  name='delta(S-M) Switch',
                  in_sig=[np.float32],
                  out_sig=[np.float32]
              )
              self.S = S
              self.M = M

          def work(self, input_items, output_items):
             
              output_items[0][:] = input_items[0] * (np.heaviside((self.S -(self.M+1)), 1) - np.heaviside((self.S -self.M), -1))
              return len(output_items[0])
    comment: |-
      gain only,
      switch S_b
  states: {}
- name: v1_path_switch1_0_1_0_3_0
  id: epy_block
  parameters:
    M: '2'
    S: whichFilterIn
    _source_code: |
      import numpy as np
      from gnuradio import gr


      class blk(gr.sync_block):

          def __init__(self, S=1, M=1):
              """
                  Multiply the input by the Kronecker Delta delta(S-M),
                  the Kronecker Delta is created by the heaviside function
                  
                  input:
                      in0: x(n)

                  arguments:
                      S: value of the switch, e.g. QT GUI Chooser ID
                      M: M-th path of the switch

                  output:
                      out0: x(n) delta(S-M)
                  
                  
                  Implemented equations:
                  delta(S-M) = 1, if S = M
                             = 0, otherwise 
                  
                  delta(S-M) = varepsilon(S -(M+1)) - varepsilon(S -M)
                  --> discrete derivation of heaviside functions yields the Kronecker Delta
              """
              gr.sync_block.__init__(
                  self,
                  name='delta(S-M) Switch',
                  in_sig=[np.float32],
                  out_sig=[np.float32]
              )
              self.S = S
              self.M = M

          def work(self, input_items, output_items):
             
              output_items[0][:] = input_items[0] * (np.heaviside((self.S -(self.M+1)), 1) - np.heaviside((self.S -self.M), -1))
              return len(output_items[0])
    comment: |-
      gain and LP,
      switch S_b
  states: {}
- name: v1_path_switch1_0_1_0_3_0_0
  id: epy_block
  parameters:
    M: '3'
    S: whichFilterIn
    _source_code: |
      import numpy as np
      from gnuradio import gr


      class blk(gr.sync_block):

          def __init__(self, S=1, M=1):
              """
                  Multiply the input by the Kronecker Delta delta(S-M),
                  the Kronecker Delta is created by the heaviside function
                  
                  input:
                      in0: x(n)

                  arguments:
                      S: value of the switch, e.g. QT GUI Chooser ID
                      M: M-th path of the switch

                  output:
                      out0: x(n) delta(S-M)
                  
                  
                  Implemented equations:
                  delta(S-M) = 1, if S = M
                             = 0, otherwise 
                  
                  delta(S-M) = varepsilon(S -(M+1)) - varepsilon(S -M)
                  --> discrete derivation of heaviside functions yields the Kronecker Delta
              """
              gr.sync_block.__init__(
                  self,
                  name='delta(S-M) Switch',
                  in_sig=[np.float32],
                  out_sig=[np.float32]
              )
              self.S = S
              self.M = M

          def work(self, input_items, output_items):
             
              output_items[0][:] = input_items[0] * (np.heaviside((self.S -(self.M+1)), 1) - np.heaviside((self.S -self.M), -1))
              return len(output_items[0])
    comment: |-
      gain and HP,
      switch S_b
  states: {}
- name: virtual_sink_0
  id: virtual_sink
  parameters:
    stream_id: output_path
  states: {}
- name: virtual_sink_0_0
  id: virtual_sink
  parameters:
    stream_id: input_path
  states: {}
- name: virtual_source_0_1
  id: virtual_source
  parameters:
    comment: |-
      input r(n)=s(n)+w(n):
      compute SNR and THD+N
    stream_id: input_path
  states: {}
- name: virtual_source_0_1_0
  id: virtual_source
  parameters:
    comment: |-
      output s(n):
      compute SNR and THD+N
    stream_id: output_path
  states: {}

connections:
- [analog_noise_source_x_0, '0', blocks_add_xx_0, '1']
- [analog_sig_source_x_0, '0', blk_oscillate_around_0, '0']
- [audio_source_0, '0', blocks_multiply_const_xx_1, '0']
- [blk_oscillate_around_0, '0', blocks_add_xx_0, '0']
- [blk_oscillate_around_0_0, '0', loggerBlock, '0']
- [blk_oscillate_around_0_0, '0', qtgui_number_sink_0, '0']
- [blocks_add_xx_0, '0', v1_path_switch1_0_1_0, '0']
- [blocks_add_xx_1, '0', channels_quantizer_0_0, '0']
- [blocks_add_xx_1_0, '0', channels_quantizer_0, '0']
- [blocks_complex_to_mag_0, '0', const_out_max_2_0, '0']
- [blocks_complex_to_mag_0_0, '0', const_out_max_2_0_1, '0']
- [blocks_divide_xx_0, '0', blocks_nlog10_ff_1, '0']
- [blocks_multiply_const_xx_1, '0', v1_path_switch1_0_1_0_3, '0']
- [blocks_multiply_const_xx_1, '0', v1_path_switch1_0_1_0_3_0, '0']
- [blocks_multiply_const_xx_1, '0', v1_path_switch1_0_1_0_3_0_0, '0']
- [blocks_multiply_const_xx_2, '0', v1_path_switch1_0_1_0_0, '0']
- [blocks_multiply_const_xx_2_0, '0', v1_path_switch1_0_1_0_0_0, '0']
- [blocks_nlog10_ff_1, '0', blk_oscillate_around_0_0, '0']
- [blocks_stream_to_vector_0, '0', fft_vxx_0, '0']
- [blocks_stream_to_vector_0_0, '0', fft_vxx_0_0, '0']
- [blocks_vco_f_0, '0', const_out_max_1_0_0, '0']
- [blocks_vco_f_0, '0', const_out_max_1_0_0_0, '0']
- [channels_quantizer_0, '0', audio_sink_0, '0']
- [channels_quantizer_0, '0', qtgui_freq_sink_x_0, '0']
- [channels_quantizer_0, '0', qtgui_time_sink_x_0, '0']
- [channels_quantizer_0, '0', virtual_sink_0, '0']
- [channels_quantizer_0_0, '0', qtgui_freq_sink_x_0_0, '0']
- [channels_quantizer_0_0, '0', qtgui_time_sink_x_0_0, '0']
- [channels_quantizer_0_0, '0', virtual_sink_0_0, '0']
- [const_out_max_1_0_0, '0', blocks_multiply_const_xx_2_0, '0']
- [const_out_max_1_0_0_0, '0', blocks_multiply_const_xx_2, '0']
- [const_out_max_2_0, '0', loggerBlock, '3']
- [const_out_max_2_0, '0', qtgui_number_sink_1_1_0, '0']
- [const_out_max_2_0, '1', loggerBlock, '4']
- [const_out_max_2_0, '1', qtgui_number_sink_1_0, '0']
- [const_out_max_2_0, '2', blocks_divide_xx_0, '0']
- [const_out_max_2_0_1, '0', loggerBlock, '1']
- [const_out_max_2_0_1, '0', qtgui_number_sink_1_1, '0']
- [const_out_max_2_0_1, '1', loggerBlock, '2']
- [const_out_max_2_0_1, '1', qtgui_number_sink_1, '0']
- [const_out_max_2_0_1, '2', blocks_divide_xx_0, '1']
- [fft_vxx_0, '0', blocks_complex_to_mag_0, '0']
- [fft_vxx_0_0, '0', blocks_complex_to_mag_0_0, '0']
- [high_pass_filter_0, '0', blocks_add_xx_1, '2']
- [loggerBlock, '0', blocks_null_sink_0, '0']
- [low_pass_filter_0_0, '0', blocks_add_xx_1, '1']
- [saw_for_sweep_0, '0', blocks_vco_f_0, '0']
- [v1_path_switch1_0_1_0, '0', blocks_add_xx_1_0, '0']
- [v1_path_switch1_0_1_0_0, '0', blocks_add_xx_1_0, '1']
- [v1_path_switch1_0_1_0_0_0, '0', blocks_add_xx_1_0, '2']
- [v1_path_switch1_0_1_0_1, '0', blocks_stream_to_vector_0, '0']
- [v1_path_switch1_0_1_0_2, '0', blocks_stream_to_vector_0_0, '0']
- [v1_path_switch1_0_1_0_3, '0', blocks_add_xx_1, '0']
- [v1_path_switch1_0_1_0_3_0, '0', low_pass_filter_0_0, '0']
- [v1_path_switch1_0_1_0_3_0_0, '0', high_pass_filter_0, '0']
- [virtual_source_0_1, '0', v1_path_switch1_0_1_0_1, '0']
- [virtual_source_0_1_0, '0', v1_path_switch1_0_1_0_2, '0']

metadata:
  file_format: 1
